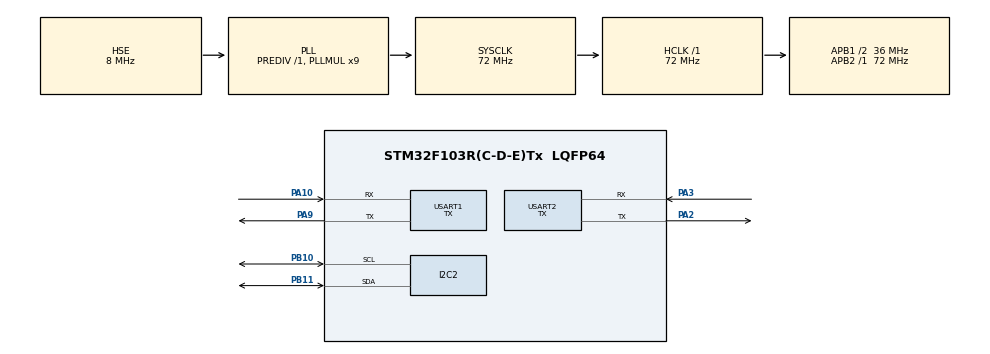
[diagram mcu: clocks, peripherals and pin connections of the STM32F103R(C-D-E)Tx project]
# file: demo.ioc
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I2C2.I2C_Mode=I2C_Fast
I2C2.NoStretchMode=I2C_NOSTRETCH_DISABLE
Mcu.Family=STM32F1
Mcu.Name=STM32F103R(C-D-E)Tx
Mcu.Package=LQFP64
NVIC.PriorityGroup=NVIC_PRIORITYGROUP_4
NVIC.USART1_IRQn=true\:0\:0\:false\:false\:true\:true\:true\:true
PA10.Mode=Asynchronous
PA10.Signal=USART1_RX
PA13.Mode=Serial_Wire
PA13.Signal=SYS_JTMS-SWDIO
PA14.Mode=Serial_Wire
PA14.Signal=SYS_JTCK-SWCLK
PA2.Mode=Asynchronous
PA2.Signal=USART2_TX
PA3.Mode=Asynchronous
PA3.Signal=USART2_RX
PA9.Mode=Asynchronous
PA9.Signal=USART1_TX
PB10.GPIO_Pu=GPIO_PULLUP
PB10.Mode=I2C
PB10.Signal=I2C2_SCL
PB11.GPIO_Pu=GPIO_PULLUP
PB11.Mode=I2C
PB11.Signal=I2C2_SDA
PD0-OSC_IN.Mode=HSE-External-Oscillator
PD0-OSC_IN.Signal=RCC_OSC_IN
PD1-OSC_OUT.Mode=HSE-External-Oscillator
PD1-OSC_OUT.Signal=RCC_OSC_OUT
ProjectManager.HeapSize=0x200
ProjectManager.StackSize=0x400
ProjectManager.TargetToolchain=MDK-ARM V5
RCC.AHBFreq_Value=72000000
RCC.APB1CLKDivider=RCC_HCLK_DIV2
RCC.APB1Freq_Value=36000000
RCC.APB1TimFreq_Value=72000000
RCC.APB2Freq_Value=72000000
RCC.APB2TimFreq_Value=72000000
RCC.HCLKFreq_Value=72000000
RCC.PLLMUL=RCC_PLL_MUL9
RCC.PLLSourceVirtual=RCC_PLLSOURCE_HSE
RCC.SYSCLKFreq_VALUE=72000000
RCC.SYSCLKSource=RCC_SYSCLKSOURCE_PLLCLK
RCC.USBFreq_Value=72000000
USART1.Mode=MODE_TX
USART1.VirtualMode=VM_ASYNC
USART2.Mode=MODE_TX
USART2.VirtualMode=VM_ASYNC
board=custom

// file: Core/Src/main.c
/* USER CODE BEGIN Header */
/**
 ******************************************************************************
 * @file           : main.c
 * @brief          : Main program body
 ******************************************************************************
 * @attention
 *
 * <h2><center>&copy; Copyright (c) 2022 STMicroelectronics.
 * All rights reserved.</center></h2>
 *
 * This software component is licensed by ST under BSD 3-Clause license,
 * the "License"; You may not use this file except in compliance with the
 * License. You may obtain a copy of the License at:
 *                        opensource.org/licenses/BSD-3-Clause
 *
 ******************************************************************************
 */
/* USER CODE END Header */
#include "main.h"
#include "i2c.h"
#include "usart.h"
#include "gpio.h"

/* USER CODE BEGIN Includes */
#include "at24cxx/at24cxx.h"
#include "string.h"

/* USER CODE END Includes */

/* USER CODE BEGIN PV */

typedef struct {
    int   i[2];
    float f;
} object_t;

/* USER CODE END PV */

void SystemClock_Config(void);

int main(void)
{

    /* MCU Configuration--------------------------------------------------------*/

    /* Reset of all peripherals, Initializes the Flash interface and the Systick. */
    HAL_Init();

    /* Configure the system clock */
    SystemClock_Config();

    /* Initialize all configured peripherals */
    MX_GPIO_Init();
    MX_USART1_UART_Init();
    MX_I2C2_Init();
    MX_USART2_UART_Init();

    /* Infinite loop */
    /* USER CODE BEGIN WHILE */
    i2c_scan(&hi2c2);

    if (i2c_check(&AT24CXX_I2C, AT24CXX_DEV) == I2C_ERR) {
        println("fail to find at24cxx");
        return 0;
    }

    // 存储结构体

#define ADDR 0xFFF

    object_t obj;

    obj.i[0] = 0;
    obj.i[1] = 0;
    obj.f    = 0;

    at24cxx_read_variable(ADDR, obj);  // 读取

    println("i[0]=%d,i[1]=%d,f=%f", obj.i[0], obj.i[1], obj.f);

    obj.i[0] = 7382;  // 新值
    obj.i[1] = -333;
    obj.f    = 3.14159;

    at24cxx_write_variable(ADDR, obj);  // 写入

    obj.i[0] = 0;  // 清0
    obj.i[1] = 0;
    obj.f    = 0;

    at24cxx_read_variable(ADDR, obj);  // 读取

    println("i[0]=%d,i[1]=%d,f=%f", obj.i[0], obj.i[1], obj.f);

#define LEN 32

    uint8_t buff[LEN] = {0};

    println(SEPARATOR60);

#define OFFSET 0x3FF

    // write

    println("write eeprom - head");

    for (uint8_t i = 0; i < LEN; ++i) buff[i] = i * 2;
    println("[%d...%d]", buff[0], buff[LEN - 1]);

    if (!at24cxx_write(OFFSET, buff, LEN)) {
        println("fail to write at24cxx [head]");
        return 0;
    }

    println("write eeprom - tail");

    for (uint8_t i = 0; i < LEN; ++i) buff[i] = i * 3;
    println("[%d...%d]", buff[0], buff[LEN - 1]);

    if (!at24cxx_write(AT24CXX_MAX_ADDR - LEN - OFFSET, buff, LEN)) {
        println("fail to write at24cxx [tail]");
        return 0;
    }

#if 0
    // 总字节32678, 每次写8字节, 写完后大约等10s, 全写大约40s/次 (32678/8*10ms)
    for (uint16_t i = 0; i < AT24CXX_MAX_SIZE; i += LEN)
        if (!at24cxx_write(i, buff, LEN)) {
            println("fail to write at24cxx [%d]", i);
            return 0;
        }
#endif

    // read

    println("read eeprom - head");

    if (!at24cxx_print(OFFSET, LEN, LEN)) return 0;

    println("read eeprom - tail");

    if (!at24cxx_print(AT24CXX_MAX_ADDR - LEN - OFFSET, LEN, LEN)) return 0;

    while (1) {
        /* USER CODE END WHILE */

    }
}

void SystemClock_Config(void)
{
    RCC_OscInitTypeDef RCC_OscInitStruct = {0};
    RCC_ClkInitTypeDef RCC_ClkInitStruct = {0};

    /** Initializes the RCC Oscillators according to the specified parameters
     * in the RCC_OscInitTypeDef structure.
     */
    RCC_OscInitStruct.OscillatorType = RCC_OSCILLATORTYPE_HSE;
    RCC_OscInitStruct.HSEState       = RCC_HSE_ON;
    RCC_OscInitStruct.HSEPredivValue = RCC_HSE_PREDIV_DIV1;
    RCC_OscInitStruct.HSIState       = RCC_HSI_ON;
    RCC_OscInitStruct.PLL.PLLState   = RCC_PLL_ON;
    RCC_OscInitStruct.PLL.PLLSource  = RCC_PLLSOURCE_HSE;
    RCC_OscInitStruct.PLL.PLLMUL     = RCC_PLL_MUL9;
    if (HAL_RCC_OscConfig(&RCC_OscInitStruct) != HAL_OK) {
        Error_Handler();
    }

    /** Initializes the CPU, AHB and APB buses clocks
     */
    RCC_ClkInitStruct.ClockType      = RCC_CLOCKTYPE_HCLK | RCC_CLOCKTYPE_SYSCLK | RCC_CLOCKTYPE_PCLK1 | RCC_CLOCKTYPE_PCLK2;
    RCC_ClkInitStruct.SYSCLKSource   = RCC_SYSCLKSOURCE_PLLCLK;
    RCC_ClkInitStruct.AHBCLKDivider  = RCC_SYSCLK_DIV1;
    RCC_ClkInitStruct.APB1CLKDivider = RCC_HCLK_DIV2;
    RCC_ClkInitStruct.APB2CLKDivider = RCC_HCLK_DIV1;

    if (HAL_RCC_ClockConfig(&RCC_ClkInitStruct, FLASH_LATENCY_2) != HAL_OK) {
        Error_Handler();
    }
}

void Error_Handler(void)
{
}
